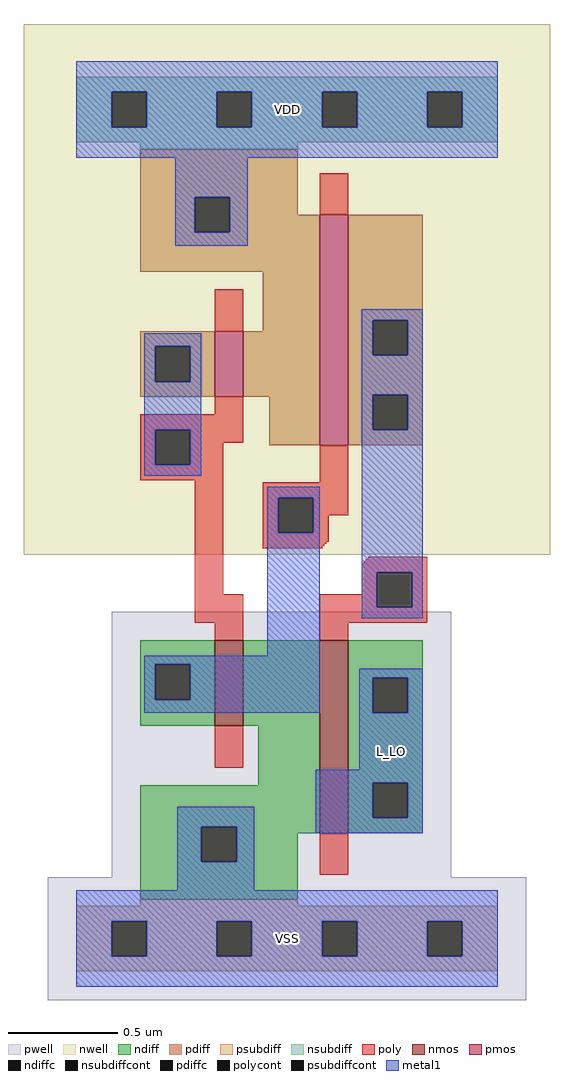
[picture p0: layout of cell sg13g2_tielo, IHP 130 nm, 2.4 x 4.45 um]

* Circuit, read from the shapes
.subckt sg13g2_tielo L_LO VDD VSS
XM1 VSS n1 n2 VSS sg13_lv_nmos w=0.39u l=0.13u
XM2 L_LO n3 VSS VSS sg13_lv_nmos w=0.88u l=0.13u
XM3 VDD n1 n1 VDD sg13_lv_pmos w=0.3u l=0.13u
XM4 n3 n2 VDD VDD sg13_lv_pmos w=1.05u l=0.13u
.ends

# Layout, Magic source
magic
tech ihp-sg13g2
<< nwell >>
rect -24 175 216 417
<< pwell >>
rect 16 28 171 149
rect -13 -28 205 28
<< nmos >>
rect 63 97 76 136
rect 111 48 124 136
<< pmos >>
rect 63 247 76 277
rect 111 225 124 330
<< ndiff >>
rect 29 125 63 136
rect 29 109 36 125
rect 52 109 63 125
rect 29 97 63 109
rect 76 97 111 136
rect 83 70 111 97
rect 29 51 111 70
rect 29 35 57 51
rect 73 48 111 51
rect 124 119 158 136
rect 124 103 135 119
rect 151 103 158 119
rect 124 71 158 103
rect 124 55 135 71
rect 151 55 158 71
rect 124 48 158 55
rect 73 35 101 48
rect 29 18 101 35
<< pdiff >>
rect 29 338 101 360
rect 29 322 54 338
rect 70 330 101 338
rect 70 322 111 330
rect 29 304 111 322
rect 85 277 111 304
rect 29 270 63 277
rect 29 254 36 270
rect 52 254 63 270
rect 29 247 63 254
rect 76 247 111 277
rect 88 225 111 247
rect 124 282 158 330
rect 124 266 135 282
rect 151 266 158 282
rect 124 248 158 266
rect 124 232 135 248
rect 151 232 158 248
rect 124 225 158 232
<< ndiffc >>
rect 36 109 52 125
rect 57 35 73 51
rect 135 103 151 119
rect 135 55 151 71
<< pdiffc >>
rect 54 322 70 338
rect 36 254 52 270
rect 135 266 151 282
rect 135 232 151 248
<< psubdiff >>
rect 29 15 101 18
rect 0 8 192 15
rect 0 -8 16 8
rect 32 -8 64 8
rect 80 -8 112 8
rect 128 -8 160 8
rect 176 -8 192 8
rect 0 -15 192 -8
<< nsubdiff >>
rect 0 386 192 393
rect 0 370 16 386
rect 32 370 64 386
rect 80 370 112 386
rect 128 370 160 386
rect 176 370 192 386
rect 0 363 192 370
rect 29 360 101 363
<< psubdiffcont >>
rect 16 -8 32 8
rect 64 -8 80 8
rect 112 -8 128 8
rect 160 -8 176 8
<< nsubdiffcont >>
rect 16 370 32 386
rect 64 370 80 386
rect 112 370 128 386
rect 160 370 176 386
<< poly >>
rect 111 330 124 349
rect 63 277 76 296
rect 63 239 76 247
rect 29 232 76 239
rect 29 216 36 232
rect 52 226 76 232
rect 52 216 67 226
rect 29 209 67 216
rect 54 157 67 209
rect 111 208 124 225
rect 85 201 124 208
rect 85 185 92 201
rect 108 193 124 201
rect 108 185 115 193
rect 85 181 115 185
rect 85 180 114 181
rect 85 179 113 180
rect 85 178 112 179
rect 133 173 160 174
rect 132 172 160 173
rect 131 171 160 172
rect 130 167 160 171
rect 130 157 137 167
rect 54 144 76 157
rect 63 136 76 144
rect 111 151 137 157
rect 153 151 160 167
rect 111 144 160 151
rect 111 136 124 144
rect 63 78 76 97
rect 111 29 124 48
<< polycont >>
rect 36 216 52 232
rect 92 185 108 201
rect 137 151 153 167
<< metal1 >>
rect 0 386 192 400
rect 0 370 16 386
rect 32 370 64 386
rect 80 370 112 386
rect 128 370 160 386
rect 176 370 192 386
rect 0 356 192 370
rect 45 338 78 356
rect 45 322 54 338
rect 70 322 78 338
rect 45 316 78 322
rect 130 282 158 287
rect 31 270 57 276
rect 31 254 36 270
rect 52 254 57 270
rect 31 232 57 254
rect 31 216 36 232
rect 52 216 57 232
rect 31 211 57 216
rect 130 266 135 282
rect 151 266 158 282
rect 130 248 158 266
rect 130 232 135 248
rect 151 232 158 248
rect 87 201 111 206
rect 87 185 92 201
rect 108 185 111 201
rect 87 129 111 185
rect 130 167 158 232
rect 130 151 137 167
rect 153 151 158 167
rect 130 146 158 151
rect 31 125 111 129
rect 31 109 36 125
rect 52 109 111 125
rect 31 103 111 109
rect 129 119 158 123
rect 129 103 135 119
rect 151 103 158 119
rect 129 77 158 103
rect 109 71 158 77
rect 46 51 81 60
rect 46 35 57 51
rect 73 35 81 51
rect 109 55 135 71
rect 151 55 158 71
rect 109 48 158 55
rect 46 22 81 35
rect 0 8 192 22
rect 0 -8 16 8
rect 32 -8 64 8
rect 80 -8 112 8
rect 128 -8 160 8
rect 176 -8 192 8
rect 0 -22 192 -8
<< labels >>
flabel metal1 s 129 48 158 123 0 FreeSans 200 0 0 0 L_LO
port 2 nsew
flabel metal1 s 0 356 192 400 0 FreeSans 200 0 0 0 VDD
port 3 nsew
flabel metal1 s 0 -22 192 22 0 FreeSans 200 0 0 0 VSS
port 4 nsew
<< properties >>
string FIXED_BBOX 0 0 192 378
string GDS_END 261516
string GDS_FILE ../gds/controller.gds
string GDS_START 257776
<< end >>
